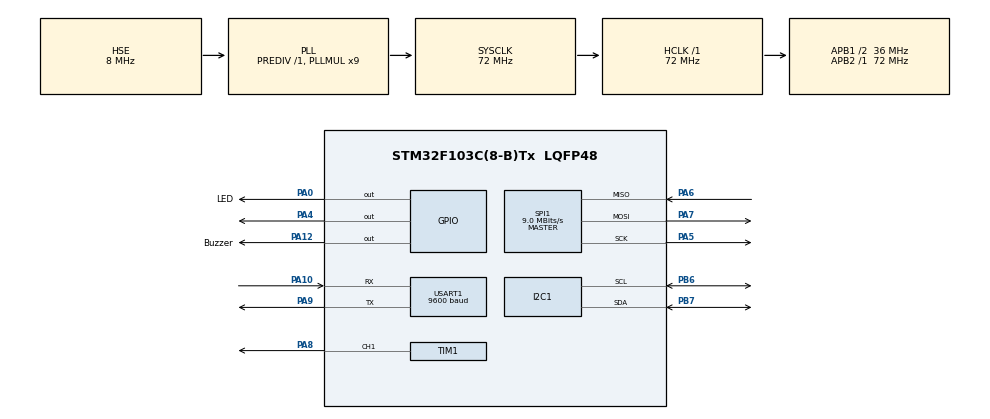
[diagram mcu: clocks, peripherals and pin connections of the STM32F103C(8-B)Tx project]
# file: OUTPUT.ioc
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Mcu.Family=STM32F1
Mcu.Name=STM32F103C(8-B)Tx
Mcu.Package=LQFP48
NVIC.PriorityGroup=NVIC_PRIORITYGROUP_4
NVIC.USART1_IRQn=true\:1\:0\:true\:false\:true\:true\:true\:true
PA0-WKUP.GPIO_Label=LED
PA0-WKUP.Signal=GPIO_Output
PA10.Mode=Asynchronous
PA10.Signal=USART1_RX
PA12.GPIO_Label=Buzzer
PA12.Signal=GPIO_Output
PA13.Mode=Serial_Wire
PA13.Signal=SYS_JTMS-SWDIO
PA14.Mode=Serial_Wire
PA14.Signal=SYS_JTCK-SWCLK
PA4.Signal=GPIO_Output
PA5.Mode=Full_Duplex_Master
PA5.Signal=SPI1_SCK
PA6.Mode=Full_Duplex_Master
PA6.Signal=SPI1_MISO
PA7.Mode=Full_Duplex_Master
PA7.Signal=SPI1_MOSI
PA8.Signal=S_TIM1_CH1
PA9.Mode=Asynchronous
PA9.Signal=USART1_TX
PB6.Mode=I2C
PB6.Signal=I2C1_SCL
PB7.Mode=I2C
PB7.Signal=I2C1_SDA
PD0-OSC_IN.Mode=HSE-External-Oscillator
PD0-OSC_IN.Signal=RCC_OSC_IN
PD1-OSC_OUT.Mode=HSE-External-Oscillator
PD1-OSC_OUT.Signal=RCC_OSC_OUT
ProjectManager.HeapSize=0x200
ProjectManager.StackSize=0x400
ProjectManager.TargetToolchain=MDK-ARM V5
RCC.AHBFreq_Value=72000000
RCC.APB1CLKDivider=RCC_HCLK_DIV2
RCC.APB1Freq_Value=36000000
RCC.APB1TimFreq_Value=72000000
RCC.APB2Freq_Value=72000000
RCC.APB2TimFreq_Value=72000000
RCC.HCLKFreq_Value=72000000
RCC.PLLMUL=RCC_PLL_MUL9
RCC.PLLSourceVirtual=RCC_PLLSOURCE_HSE
RCC.SYSCLKFreq_VALUE=72000000
RCC.SYSCLKSource=RCC_SYSCLKSOURCE_PLLCLK
RCC.USBFreq_Value=72000000
SH.S_TIM1_CH1.0=TIM1_CH1,PWM Generation1 CH1
SPI1.BaudRatePrescaler=SPI_BAUDRATEPRESCALER_8
SPI1.CalculateBaudRate=9.0 MBits/s
SPI1.Direction=SPI_DIRECTION_2LINES
SPI1.Mode=SPI_MODE_MASTER
SPI1.VirtualType=VM_MASTER
TIM1.Channel-PWM\ Generation1\ CH1=TIM_CHANNEL_1
TIM1.Period=199
TIM1.Prescaler=7200-1
USART1.BaudRate=9600
USART1.VirtualMode=VM_ASYNC
VP_TIM1_VS_ClockSourceINT.Mode=Internal
board=custom

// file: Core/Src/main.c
/* USER CODE BEGIN Header */
/**
  ******************************************************************************
  * @file           : main.c
  * @brief          : Main program body
  ******************************************************************************
  * @attention
  *
  * Copyright (c) 2023 STMicroelectronics.
  * All rights reserved.
  *
  * This software is licensed under terms that can be found in the LICENSE file
  * in the root directory of this software component.
  * If no LICENSE file comes with this software, it is provided AS-IS.
  *
  ******************************************************************************
  */
/* USER CODE END Header */
#include "main.h"

/* USER CODE BEGIN Includes */
#include "rc522.h"
#include "CLCD_I2C.h"
#include "string.h"
#include "stdio.h"

/* USER CODE END Includes */

I2C_HandleTypeDef hi2c1;

SPI_HandleTypeDef hspi1;

TIM_HandleTypeDef htim1;

UART_HandleTypeDef huart1;

/* USER CODE BEGIN PV */

CLCD_I2C_Name LCD1;
uint8_t serial[6];
uint8_t Readcard[5];
char UID[9];
char user[16];
char str[32]="";
uint8_t buffer_Rx[1];
uint8_t Cua = 0;
uint8_t a=0;
uint8_t b=0;
uint8_t c=0;
uint8_t d=0;

/* USER CODE END PV */

void SystemClock_Config(void);
static void MX_GPIO_Init(void);
static void MX_I2C1_Init(void);
static void MX_SPI1_Init(void);
static void MX_TIM1_Init(void);
static void MX_USART1_UART_Init(void);

/* USER CODE BEGIN 0 */

void Servo()
{
	__HAL_TIM_SET_COMPARE(&htim1,TIM_CHANNEL_1,15);
	HAL_Delay(3000);
	__HAL_TIM_SET_COMPARE(&htim1,TIM_CHANNEL_1,5);
}

void LCD_Welcome()
{
	CLCD_I2C_Clear(&LCD1);
	CLCD_I2C_SetCursor(&LCD1,4,0);
	CLCD_I2C_WriteString(&LCD1,"Welcome");
	CLCD_I2C_SetCursor(&LCD1,0,1);
	CLCD_I2C_WriteString(&LCD1,"Moi ban quet the");

}
void LCD_Goodbye()
{
	CLCD_I2C_Clear(&LCD1);
	CLCD_I2C_SetCursor(&LCD1,4,0);
	CLCD_I2C_WriteString(&LCD1,"Goodbye");
	CLCD_I2C_SetCursor(&LCD1,0,1);
	CLCD_I2C_WriteString(&LCD1,"Hen gap lai ban");

}

void LCD_False()
{
	CLCD_I2C_Clear(&LCD1);
	CLCD_I2C_SetCursor(&LCD1,4,0);
	CLCD_I2C_WriteString(&LCD1,"The sai");
	CLCD_I2C_SetCursor(&LCD1,0,1);
	CLCD_I2C_WriteString(&LCD1,"Moi ban quet lai");
	for(uint8_t i=0;i<3;i++)
	{
		HAL_GPIO_WritePin(Buzzer_GPIO_Port,Buzzer_Pin,GPIO_PIN_SET);
		HAL_Delay(300);
		HAL_GPIO_WritePin(Buzzer_GPIO_Port,Buzzer_Pin,GPIO_PIN_RESET);
		HAL_Delay(300);
	}
}

void HAL_UART_RxCpltCallback(UART_HandleTypeDef *huart)
{
	if(huart == &huart1)
	{
		if(buffer_Rx[0] == 'Y')
		{
			a = 1;
			HAL_GPIO_TogglePin(LED_GPIO_Port,LED_Pin);
		}
		if(buffer_Rx[0] == 'O')
		{
			__HAL_TIM_SET_COMPARE(&htim1,TIM_CHANNEL_1,15);
		}
		if(buffer_Rx[0] == 'C')
		{
			__HAL_TIM_SET_COMPARE(&htim1,TIM_CHANNEL_1,5);
		}
		HAL_UART_Receive_IT(&huart1,buffer_Rx,sizeof(buffer_Rx));
	}
}

void User_data()
{
		HAL_UART_Transmit(&huart1,(uint8_t *)UID,sizeof(UID),100);
}

void array_to_string(uint8_t array[],uint8_t len,char buffer[])
{
	for(uint8_t i=0;i<4;i++)
	{
		uint8_t nib1 = (array[i]>>4) & 0x0F;
		uint8_t nib2 = (array[i]>>0) & 0x0F;
		buffer[i*2+0] = nib1 < 0xA ? '0' + nib1 : 'A' + nib1 - 0xA;
		buffer[i*2+1] = nib2 < 0xA ? '0' + nib2 : 'A' + nib2 - 0xA;
	}
	buffer[len*2] = '\0';
}

void Check_ID()
{
	if(!TM_MFRC522_Request(PICC_REQIDL,serial)){
			if(!TM_MFRC522_Anticoll(serial)){
				HAL_GPIO_WritePin(Buzzer_GPIO_Port,Buzzer_Pin,GPIO_PIN_SET);
				HAL_Delay(300);
				HAL_GPIO_WritePin(Buzzer_GPIO_Port,Buzzer_Pin,GPIO_PIN_RESET);
				HAL_Delay(100);
				for (uint8_t i=1;i<5;i++){
					Readcard[i-1]=serial[i];
				}
				array_to_string(Readcard,4,str);
				strcpy(UID,str);
				User_data();
				//TM_MFRC522_Halt();
			}
	}
}

/* USER CODE END 0 */

int main(void)
{

  /* MCU Configuration--------------------------------------------------------*/

  /* Reset of all peripherals, Initializes the Flash interface and the Systick. */
  HAL_Init();

  /* Configure the system clock */
  SystemClock_Config();

  /* Initialize all configured peripherals */
  MX_GPIO_Init();
  MX_I2C1_Init();
  MX_SPI1_Init();
  MX_TIM1_Init();
  MX_USART1_UART_Init();
  /* USER CODE BEGIN 2 */

	HAL_TIM_PWM_Start(&htim1,TIM_CHANNEL_1);
	TM_MFRC522_Init();
	CLCD_I2C_Init(&LCD1,&hi2c1,0x4C,20,4);
	LCD_Welcome();
	HAL_UART_Receive_IT(&huart1,buffer_Rx,sizeof(buffer_Rx));

  /* USER CODE END 2 */

  /* Infinite loop */
  while (1)
  {

    /* USER CODE BEGIN 3 */

		Check_ID();
		if (a == 1)
		{
			Servo();
			a=0;
		}
  }
  /* USER CODE END 3 */
}

void SystemClock_Config(void)
{
  RCC_OscInitTypeDef RCC_OscInitStruct = {0};
  RCC_ClkInitTypeDef RCC_ClkInitStruct = {0};

  /** Initializes the RCC Oscillators according to the specified parameters
  * in the RCC_OscInitTypeDef structure.
  */
  RCC_OscInitStruct.OscillatorType = RCC_OSCILLATORTYPE_HSE;
  RCC_OscInitStruct.HSEState = RCC_HSE_ON;
  RCC_OscInitStruct.HSEPredivValue = RCC_HSE_PREDIV_DIV1;
  RCC_OscInitStruct.HSIState = RCC_HSI_ON;
  RCC_OscInitStruct.PLL.PLLState = RCC_PLL_ON;
  RCC_OscInitStruct.PLL.PLLSource = RCC_PLLSOURCE_HSE;
  RCC_OscInitStruct.PLL.PLLMUL = RCC_PLL_MUL9;
  if (HAL_RCC_OscConfig(&RCC_OscInitStruct) != HAL_OK)
  {
    Error_Handler();
  }

  /** Initializes the CPU, AHB and APB buses clocks
  */
  RCC_ClkInitStruct.ClockType = RCC_CLOCKTYPE_HCLK|RCC_CLOCKTYPE_SYSCLK
                              |RCC_CLOCKTYPE_PCLK1|RCC_CLOCKTYPE_PCLK2;
  RCC_ClkInitStruct.SYSCLKSource = RCC_SYSCLKSOURCE_PLLCLK;
  RCC_ClkInitStruct.AHBCLKDivider = RCC_SYSCLK_DIV1;
  RCC_ClkInitStruct.APB1CLKDivider = RCC_HCLK_DIV2;
  RCC_ClkInitStruct.APB2CLKDivider = RCC_HCLK_DIV1;

  if (HAL_RCC_ClockConfig(&RCC_ClkInitStruct, FLASH_LATENCY_2) != HAL_OK)
  {
    Error_Handler();
  }
}

static void MX_I2C1_Init(void)
{

  hi2c1.Instance = I2C1;
  hi2c1.Init.ClockSpeed = 100000;
  hi2c1.Init.DutyCycle = I2C_DUTYCYCLE_2;
  hi2c1.Init.OwnAddress1 = 0;
  hi2c1.Init.AddressingMode = I2C_ADDRESSINGMODE_7BIT;
  hi2c1.Init.DualAddressMode = I2C_DUALADDRESS_DISABLE;
  hi2c1.Init.OwnAddress2 = 0;
  hi2c1.Init.GeneralCallMode = I2C_GENERALCALL_DISABLE;
  hi2c1.Init.NoStretchMode = I2C_NOSTRETCH_DISABLE;
  if (HAL_I2C_Init(&hi2c1) != HAL_OK)
  {
    Error_Handler();
  }

}

static void MX_SPI1_Init(void)
{

  /* SPI1 parameter configuration*/
  hspi1.Instance = SPI1;
  hspi1.Init.Mode = SPI_MODE_MASTER;
  hspi1.Init.Direction = SPI_DIRECTION_2LINES;
  hspi1.Init.DataSize = SPI_DATASIZE_8BIT;
  hspi1.Init.CLKPolarity = SPI_POLARITY_LOW;
  hspi1.Init.CLKPhase = SPI_PHASE_1EDGE;
  hspi1.Init.NSS = SPI_NSS_SOFT;
  hspi1.Init.BaudRatePrescaler = SPI_BAUDRATEPRESCALER_8;
  hspi1.Init.FirstBit = SPI_FIRSTBIT_MSB;
  hspi1.Init.TIMode = SPI_TIMODE_DISABLE;
  hspi1.Init.CRCCalculation = SPI_CRCCALCULATION_DISABLE;
  hspi1.Init.CRCPolynomial = 10;
  if (HAL_SPI_Init(&hspi1) != HAL_OK)
  {
    Error_Handler();
  }

}

static void MX_TIM1_Init(void)
{

  TIM_ClockConfigTypeDef sClockSourceConfig = {0};
  TIM_MasterConfigTypeDef sMasterConfig = {0};
  TIM_OC_InitTypeDef sConfigOC = {0};
  TIM_BreakDeadTimeConfigTypeDef sBreakDeadTimeConfig = {0};

  htim1.Instance = TIM1;
  htim1.Init.Prescaler = 7200-1;
  htim1.Init.CounterMode = TIM_COUNTERMODE_UP;
  htim1.Init.Period = 199;
  htim1.Init.ClockDivision = TIM_CLOCKDIVISION_DIV1;
  htim1.Init.RepetitionCounter = 0;
  htim1.Init.AutoReloadPreload = TIM_AUTORELOAD_PRELOAD_DISABLE;
  if (HAL_TIM_Base_Init(&htim1) != HAL_OK)
  {
    Error_Handler();
  }
  sClockSourceConfig.ClockSource = TIM_CLOCKSOURCE_INTERNAL;
  if (HAL_TIM_ConfigClockSource(&htim1, &sClockSourceConfig) != HAL_OK)
  {
    Error_Handler();
  }
  if (HAL_TIM_PWM_Init(&htim1) != HAL_OK)
  {
    Error_Handler();
  }
  sMasterConfig.MasterOutputTrigger = TIM_TRGO_RESET;
  sMasterConfig.MasterSlaveMode = TIM_MASTERSLAVEMODE_DISABLE;
  if (HAL_TIMEx_MasterConfigSynchronization(&htim1, &sMasterConfig) != HAL_OK)
  {
    Error_Handler();
  }
  sConfigOC.OCMode = TIM_OCMODE_PWM1;
  sConfigOC.Pulse = 0;
  sConfigOC.OCPolarity = TIM_OCPOLARITY_HIGH;
  sConfigOC.OCNPolarity = TIM_OCNPOLARITY_HIGH;
  sConfigOC.OCFastMode = TIM_OCFAST_DISABLE;
  sConfigOC.OCIdleState = TIM_OCIDLESTATE_RESET;
  sConfigOC.OCNIdleState = TIM_OCNIDLESTATE_RESET;
  if (HAL_TIM_PWM_ConfigChannel(&htim1, &sConfigOC, TIM_CHANNEL_1) != HAL_OK)
  {
    Error_Handler();
  }
  sBreakDeadTimeConfig.OffStateRunMode = TIM_OSSR_DISABLE;
  sBreakDeadTimeConfig.OffStateIDLEMode = TIM_OSSI_DISABLE;
  sBreakDeadTimeConfig.LockLevel = TIM_LOCKLEVEL_OFF;
  sBreakDeadTimeConfig.DeadTime = 0;
  sBreakDeadTimeConfig.BreakState = TIM_BREAK_DISABLE;
  sBreakDeadTimeConfig.BreakPolarity = TIM_BREAKPOLARITY_HIGH;
  sBreakDeadTimeConfig.AutomaticOutput = TIM_AUTOMATICOUTPUT_DISABLE;
  if (HAL_TIMEx_ConfigBreakDeadTime(&htim1, &sBreakDeadTimeConfig) != HAL_OK)
  {
    Error_Handler();
  }
  HAL_TIM_MspPostInit(&htim1);

}

static void MX_USART1_UART_Init(void)
{

  huart1.Instance = USART1;
  huart1.Init.BaudRate = 9600;
  huart1.Init.WordLength = UART_WORDLENGTH_8B;
  huart1.Init.StopBits = UART_STOPBITS_1;
  huart1.Init.Parity = UART_PARITY_NONE;
  huart1.Init.Mode = UART_MODE_TX_RX;
  huart1.Init.HwFlowCtl = UART_HWCONTROL_NONE;
  huart1.Init.OverSampling = UART_OVERSAMPLING_16;
  if (HAL_UART_Init(&huart1) != HAL_OK)
  {
    Error_Handler();
  }

}

static void MX_GPIO_Init(void)
{
  GPIO_InitTypeDef GPIO_InitStruct = {0};

  /* GPIO Ports Clock Enable */
  __HAL_RCC_GPIOD_CLK_ENABLE();
  __HAL_RCC_GPIOA_CLK_ENABLE();
  __HAL_RCC_GPIOB_CLK_ENABLE();

  /*Configure GPIO pin Output Level */
  HAL_GPIO_WritePin(GPIOA, LED_Pin|GPIO_PIN_4|Buzzer_Pin, GPIO_PIN_RESET);

  /*Configure GPIO pins : LED_Pin PA4 Buzzer_Pin */
  GPIO_InitStruct.Pin = LED_Pin|GPIO_PIN_4|Buzzer_Pin;
  GPIO_InitStruct.Mode = GPIO_MODE_OUTPUT_PP;
  GPIO_InitStruct.Pull = GPIO_NOPULL;
  GPIO_InitStruct.Speed = GPIO_SPEED_FREQ_LOW;
  HAL_GPIO_Init(GPIOA, &GPIO_InitStruct);

}

void Error_Handler(void)
{
  __disable_irq();
  while (1)
  {
  }
}
